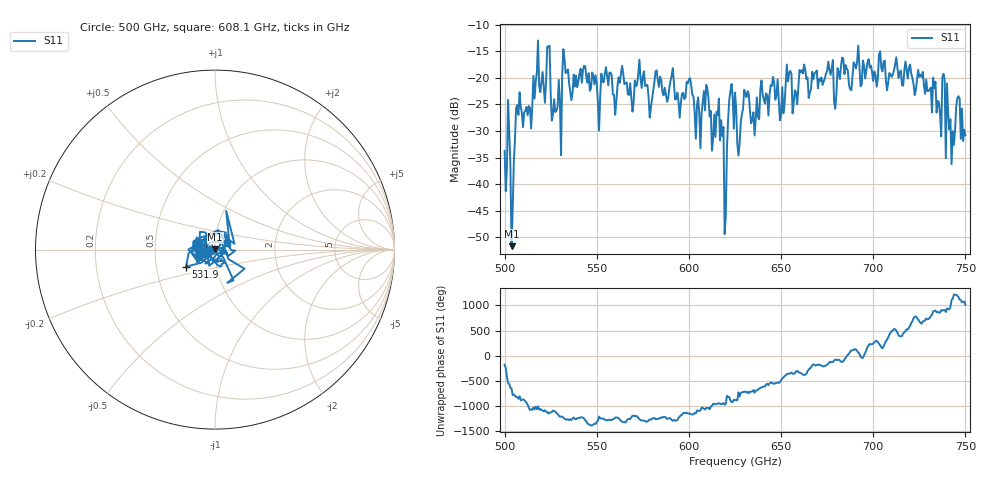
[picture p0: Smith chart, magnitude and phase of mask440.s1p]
!Created with skrf (http://scikit-rf.org).
# GHz S MA R 50.0
!freq magS11 angS11
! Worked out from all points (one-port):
!   401 points, 500 GHz to 750 GHz, reference 50 ohm
!   lowest |S11| = -51.6 dB at 503.8 GHz (marker M1), VSWR 1.01, Z = 50.1 + j0.249 ohm
!   |S11| at or under -10 dB: start of sweep to end of sweep
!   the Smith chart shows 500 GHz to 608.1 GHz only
!   S11 on the Smith chart (normalised r, x): 500 GHz: 0.96, -0.00; 531.9 GHz: 0.71, -0.14; 608.1 GHz: 1.14, +0.09
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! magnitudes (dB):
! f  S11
! 500 GHz  -33.7
! 501.9 GHz  -24.1
! 503.8 GHz  -51.6
! 507.5 GHz  -26.9
! 513.8 GHz  -25.6
! 516.9 GHz  -20.7
! 523.8 GHz  -14.1
! 526.9 GHz  -24.0
! 531.2 GHz  -19.5
! 531.9 GHz  -14.6
! 556.2 GHz  -21.4
! 560 GHz  -26.9
! 562.5 GHz  -20.9
! 593.8 GHz  -22.8
! 608.1 GHz  -22.5
! 617.5 GHz  -28.0
! 619.4 GHz  -49.4
! 620.6 GHz  -33.4
! 622.5 GHz  -22.6
! 625 GHz  -22.8
! 627.5 GHz  -32.4
! 631.2 GHz  -23.6
! 635 GHz  -26.5
! 645 GHz  -21.5
! 656.2 GHz  -26.7
! 687.5 GHz  -22.1
! 718.8 GHz  -20.1
! 750 GHz  -30.8
